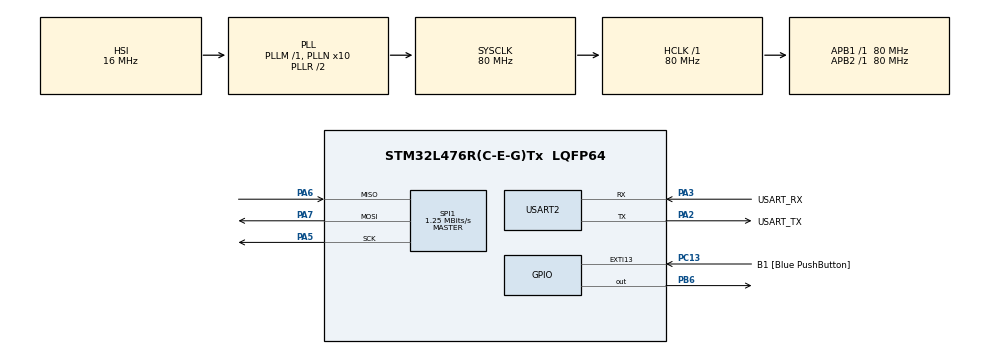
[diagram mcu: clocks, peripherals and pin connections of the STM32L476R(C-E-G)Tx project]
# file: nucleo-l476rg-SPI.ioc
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Mcu.Family=STM32L4
Mcu.Name=STM32L476R(C-E-G)Tx
Mcu.Package=LQFP64
NVIC.PriorityGroup=NVIC_PRIORITYGROUP_4
PA13\ (JTMS-SWDIO).GPIO_Label=TMS
PA13\ (JTMS-SWDIO).Mode=Serial_Wire
PA13\ (JTMS-SWDIO).Signal=SYS_JTMS-SWDIO
PA14\ (JTCK-SWCLK).GPIO_Label=TCK
PA14\ (JTCK-SWCLK).Mode=Serial_Wire
PA14\ (JTCK-SWCLK).Signal=SYS_JTCK-SWCLK
PA2.GPIO_Label=USART_TX
PA2.GPIO_Mode=GPIO_MODE_AF_PP
PA2.GPIO_PuPd=GPIO_NOPULL
PA2.GPIO_Speed=GPIO_SPEED_FREQ_VERY_HIGH
PA2.Mode=Asynchronous
PA2.Signal=USART2_TX
PA3.GPIO_Label=USART_RX
PA3.GPIO_Mode=GPIO_MODE_AF_PP
PA3.GPIO_PuPd=GPIO_NOPULL
PA3.GPIO_Speed=GPIO_SPEED_FREQ_VERY_HIGH
PA3.Mode=Asynchronous
PA3.Signal=USART2_RX
PA5.Mode=Full_Duplex_Master
PA5.Signal=SPI1_SCK
PA6.Mode=Full_Duplex_Master
PA6.Signal=SPI1_MISO
PA7.Mode=Full_Duplex_Master
PA7.Signal=SPI1_MOSI
PB3\ (JTDO-TRACESWO).GPIO_Label=SWO
PB3\ (JTDO-TRACESWO).Signal=SYS_JTDO-SWO
PB6.Signal=GPIO_Output
PC13.GPIO_Label=B1 [Blue PushButton]
PC13.GPIO_ModeDefaultEXTI=GPIO_MODE_IT_FALLING
PC13.GPIO_PuPd=GPIO_NOPULL
PC13.Signal=GPXTI13
PC14-OSC32_IN\ (PC14).Mode=LSE-External-Oscillator
PC14-OSC32_IN\ (PC14).Signal=RCC_OSC32_IN
PC15-OSC32_OUT\ (PC15).Mode=LSE-External-Oscillator
PC15-OSC32_OUT\ (PC15).Signal=RCC_OSC32_OUT
PH0-OSC_IN\ (PH0).Signal=RCC_OSC_IN
PH1-OSC_OUT\ (PH1).Signal=RCC_OSC_OUT
ProjectManager.HeapSize=0x200
ProjectManager.StackSize=0x400
ProjectManager.TargetToolchain=STM32CubeIDE
RCC.ADCFreq_Value=64000000
RCC.AHBFreq_Value=80000000
RCC.APB1Freq_Value=80000000
RCC.APB1TimFreq_Value=80000000
RCC.APB2Freq_Value=80000000
RCC.APB2TimFreq_Value=80000000
RCC.CortexFreq_Value=80000000
RCC.HCLKFreq_Value=80000000
RCC.HSE_VALUE=8000000
RCC.HSI_VALUE=16000000
RCC.MSI_VALUE=4000000
RCC.PLLN=10
RCC.PLLSourceVirtual=RCC_PLLSOURCE_HSI
RCC.PREFETCH_ENABLE=1
RCC.SYSCLKFreq_VALUE=80000000
RCC.SYSCLKSource=RCC_SYSCLKSOURCE_PLLCLK
RCC.USBFreq_Value=64000000
RCC.VCOOutputFreq_Value=160000000
SPI1.BaudRatePrescaler=SPI_BAUDRATEPRESCALER_64
SPI1.CalculateBaudRate=1.25 MBits/s
SPI1.DataSize=SPI_DATASIZE_8BIT
SPI1.Direction=SPI_DIRECTION_2LINES
SPI1.Mode=SPI_MODE_MASTER
SPI1.NSSPMode=SPI_NSS_PULSE_DISABLE
SPI1.VirtualType=VM_MASTER
USART2.VirtualMode-Asynchronous=VM_ASYNC
board=NUCLEO-L476RG

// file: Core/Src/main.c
/* USER CODE BEGIN Header */
/**
  ******************************************************************************
  * @file           : main.c
  * @brief          : Main program body
  ******************************************************************************
  * @attention
  *
  * Copyright (c) 2023 STMicroelectronics.
  * All rights reserved.
  *
  * This software is licensed under terms that can be found in the LICENSE file
  * in the root directory of this software component.
  * If no LICENSE file comes with this software, it is provided AS-IS.
  *
  ******************************************************************************
  */
/* USER CODE END Header */
#include "main.h"

/* USER CODE BEGIN Includes */
#include "stdio.h"
/* USER CODE END Includes */

SPI_HandleTypeDef hspi1;

UART_HandleTypeDef huart2;

/* USER CODE BEGIN PV */

// 25AA040A Instructions
const uint8_t EEPROM_READ = 0b00000011;
const uint8_t EEPROM_WRITE = 0b00000010;
const uint8_t EEPROM_WRDI = 0b00000100;
const uint8_t EEPROM_WREN = 0b00000110;
const uint8_t EEPROM_RDSR = 0b00000101;
const uint8_t EEPROM_WRSR = 0b00000001;

/* USER CODE END PV */

void SystemClock_Config(void);
static void MX_GPIO_Init(void);
static void MX_USART2_UART_Init(void);
static void MX_SPI1_Init(void);

int main(void)
{
  /* USER CODE BEGIN 1 */
	char uart_buf[50];
	int uart_buf_len;
	char spi_buf[20];

  /* USER CODE END 1 */

  /* MCU Configuration--------------------------------------------------------*/

  /* Reset of all peripherals, Initializes the Flash interface and the Systick. */
  HAL_Init();

  /* Configure the system clock */
  SystemClock_Config();

  /* Initialize all configured peripherals */
  MX_GPIO_Init();
  MX_USART2_UART_Init();
  MX_SPI1_Init();
  /* USER CODE BEGIN 2 */

  // CS pin should default high
  HAL_GPIO_WritePin(GPIOB, GPIO_PIN_6, GPIO_PIN_SET);

  // Say something
  uart_buf_len = sprintf(uart_buf, "SPI TEST\r\n");
  HAL_UART_Transmit(&huart2, (uint8_t *)uart_buf, uart_buf_len, 100);

  // Enable write enable latch (allow write operations
  HAL_GPIO_WritePin(GPIOB, GPIO_PIN_6, GPIO_PIN_RESET);
  HAL_SPI_Transmit(&hspi1, (uint8_t *)&EEPROM_WREN, 1, 100);
  HAL_GPIO_WritePin(GPIOB, GPIO_PIN_6, GPIO_PIN_SET);

  // Read status register
  HAL_GPIO_WritePin(GPIOB, GPIO_PIN_6, GPIO_PIN_RESET);
  HAL_SPI_Transmit(&hspi1, (uint8_t *)&EEPROM_RDSR, 1, 100);
  HAL_SPI_Receive(&hspi1, (uint8_t *)spi_buf, 1, 100);
  HAL_GPIO_WritePin(GPIOB, GPIO_PIN_6, GPIO_PIN_SET);

  // Print out status register
  uart_buf_len = sprintf(uart_buf,
		  	  	  	  	  "Status: 0x%02x\r\n",
						  (unsigned int)spi_buf[0]);
  HAL_UART_Transmit(&huart2, (uint8_t *)uart_buf, uart_buf_len, 100);

  /* USER CODE END 2 */

  /* Infinite loop */
  while (1)
  {

  }
}

void SystemClock_Config(void)
{
  RCC_OscInitTypeDef RCC_OscInitStruct = {0};
  RCC_ClkInitTypeDef RCC_ClkInitStruct = {0};

  /** Configure the main internal regulator output voltage
  */
  if (HAL_PWREx_ControlVoltageScaling(PWR_REGULATOR_VOLTAGE_SCALE1) != HAL_OK)
  {
    Error_Handler();
  }

  /** Initializes the RCC Oscillators according to the specified parameters
  * in the RCC_OscInitTypeDef structure.
  */
  RCC_OscInitStruct.OscillatorType = RCC_OSCILLATORTYPE_HSI;
  RCC_OscInitStruct.HSIState = RCC_HSI_ON;
  RCC_OscInitStruct.HSICalibrationValue = RCC_HSICALIBRATION_DEFAULT;
  RCC_OscInitStruct.PLL.PLLState = RCC_PLL_ON;
  RCC_OscInitStruct.PLL.PLLSource = RCC_PLLSOURCE_HSI;
  RCC_OscInitStruct.PLL.PLLM = 1;
  RCC_OscInitStruct.PLL.PLLN = 10;
  RCC_OscInitStruct.PLL.PLLP = RCC_PLLP_DIV7;
  RCC_OscInitStruct.PLL.PLLQ = RCC_PLLQ_DIV2;
  RCC_OscInitStruct.PLL.PLLR = RCC_PLLR_DIV2;
  if (HAL_RCC_OscConfig(&RCC_OscInitStruct) != HAL_OK)
  {
    Error_Handler();
  }

  /** Initializes the CPU, AHB and APB buses clocks
  */
  RCC_ClkInitStruct.ClockType = RCC_CLOCKTYPE_HCLK|RCC_CLOCKTYPE_SYSCLK
                              |RCC_CLOCKTYPE_PCLK1|RCC_CLOCKTYPE_PCLK2;
  RCC_ClkInitStruct.SYSCLKSource = RCC_SYSCLKSOURCE_PLLCLK;
  RCC_ClkInitStruct.AHBCLKDivider = RCC_SYSCLK_DIV1;
  RCC_ClkInitStruct.APB1CLKDivider = RCC_HCLK_DIV1;
  RCC_ClkInitStruct.APB2CLKDivider = RCC_HCLK_DIV1;

  if (HAL_RCC_ClockConfig(&RCC_ClkInitStruct, FLASH_LATENCY_4) != HAL_OK)
  {
    Error_Handler();
  }
}

static void MX_SPI1_Init(void)
{

  /* SPI1 parameter configuration*/
  hspi1.Instance = SPI1;
  hspi1.Init.Mode = SPI_MODE_MASTER;
  hspi1.Init.Direction = SPI_DIRECTION_2LINES;
  hspi1.Init.DataSize = SPI_DATASIZE_8BIT;
  hspi1.Init.CLKPolarity = SPI_POLARITY_LOW;
  hspi1.Init.CLKPhase = SPI_PHASE_1EDGE;
  hspi1.Init.NSS = SPI_NSS_SOFT;
  hspi1.Init.BaudRatePrescaler = SPI_BAUDRATEPRESCALER_64;
  hspi1.Init.FirstBit = SPI_FIRSTBIT_MSB;
  hspi1.Init.TIMode = SPI_TIMODE_DISABLE;
  hspi1.Init.CRCCalculation = SPI_CRCCALCULATION_DISABLE;
  hspi1.Init.CRCPolynomial = 7;
  hspi1.Init.CRCLength = SPI_CRC_LENGTH_DATASIZE;
  hspi1.Init.NSSPMode = SPI_NSS_PULSE_DISABLE;
  if (HAL_SPI_Init(&hspi1) != HAL_OK)
  {
    Error_Handler();
  }

}

static void MX_USART2_UART_Init(void)
{

  huart2.Instance = USART2;
  huart2.Init.BaudRate = 115200;
  huart2.Init.WordLength = UART_WORDLENGTH_8B;
  huart2.Init.StopBits = UART_STOPBITS_1;
  huart2.Init.Parity = UART_PARITY_NONE;
  huart2.Init.Mode = UART_MODE_TX_RX;
  huart2.Init.HwFlowCtl = UART_HWCONTROL_NONE;
  huart2.Init.OverSampling = UART_OVERSAMPLING_16;
  huart2.Init.OneBitSampling = UART_ONE_BIT_SAMPLE_DISABLE;
  huart2.AdvancedInit.AdvFeatureInit = UART_ADVFEATURE_NO_INIT;
  if (HAL_UART_Init(&huart2) != HAL_OK)
  {
    Error_Handler();
  }

}

static void MX_GPIO_Init(void)
{
  GPIO_InitTypeDef GPIO_InitStruct = {0};

  /* GPIO Ports Clock Enable */
  __HAL_RCC_GPIOC_CLK_ENABLE();
  __HAL_RCC_GPIOH_CLK_ENABLE();
  __HAL_RCC_GPIOA_CLK_ENABLE();
  __HAL_RCC_GPIOB_CLK_ENABLE();

  /*Configure GPIO pin Output Level */
  HAL_GPIO_WritePin(GPIOB, GPIO_PIN_6, GPIO_PIN_RESET);

  /*Configure GPIO pin : B1_Pin */
  GPIO_InitStruct.Pin = B1_Pin;
  GPIO_InitStruct.Mode = GPIO_MODE_IT_FALLING;
  GPIO_InitStruct.Pull = GPIO_NOPULL;
  HAL_GPIO_Init(B1_GPIO_Port, &GPIO_InitStruct);

  /*Configure GPIO pin : PB6 */
  GPIO_InitStruct.Pin = GPIO_PIN_6;
  GPIO_InitStruct.Mode = GPIO_MODE_OUTPUT_PP;
  GPIO_InitStruct.Pull = GPIO_NOPULL;
  GPIO_InitStruct.Speed = GPIO_SPEED_FREQ_LOW;
  HAL_GPIO_Init(GPIOB, &GPIO_InitStruct);

}

void Error_Handler(void)
{
  __disable_irq();
  while (1)
  {
  }
}
